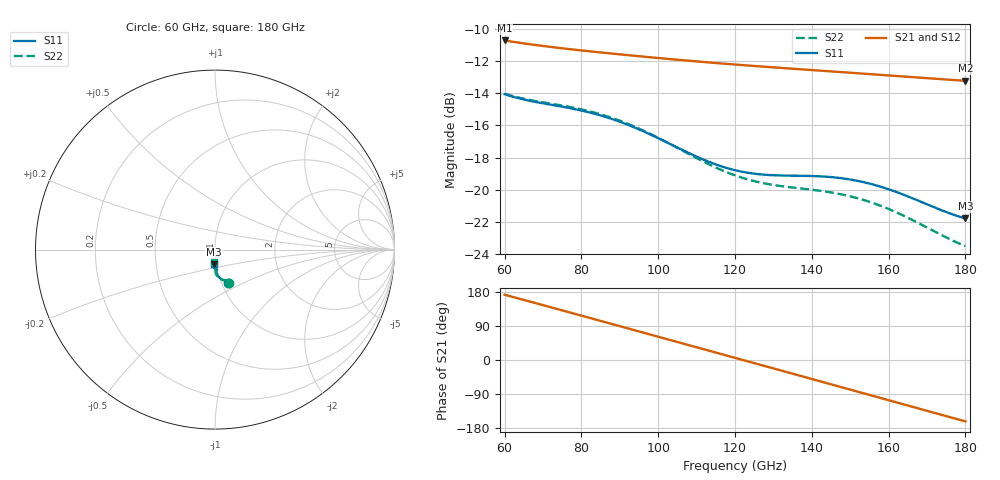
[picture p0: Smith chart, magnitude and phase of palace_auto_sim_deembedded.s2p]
! Created with skrf 1.11.0 (http://scikit-rf.org).
# GHz S DB R 50.0
!freq dBS11 angS11 dBS21 angS21 dBS12 angS12 dBS22 angS22
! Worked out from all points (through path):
!   101 points, 60 GHz to 180 GHz, reference 50 ohm
!   highest |S21| = -10.72 dB at 60 GHz (marker M1); lowest = -13.2 dB at 180 GHz (marker M2)
!   group delay of S21, straight-line fit = 7.75 ps
!   lowest |S11| = -21.8 dB at 180 GHz (marker M3), VSWR 1.18, Z = 48.8 - j7.99 ohm
!   |S11| at or under -10 dB: start of sweep to end of sweep
!   |S22| runs from -23.5 to -14.0 dB; largest |S21 - S12| = 1.4e-16
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60  -14.06 -68.3  -10.72 172.3  -10.72 172.3  -14.03 -67.6
64.8  -14.37 -68.7  -10.90 159.1  -10.90 159.1  -14.33 -68.1
69.6  -14.61 -69.7  -11.05 145.9  -11.05 145.9  -14.55 -69.3
75.6  -14.86 -71.9  -11.22 129.3  -11.22 129.3  -14.79 -71.7
80.4  -15.09 -74.2  -11.35 116.0  -11.35 116.0  -15.02 -74.3
85.2  -15.39 -76.9  -11.47 102.6  -11.47 102.6  -15.32 -77.2
90  -15.77 -79.6  -11.58 89.3  -11.58 89.3  -15.70 -80.2
94.8  -16.22 -82.1  -11.69 75.9  -11.69 75.9  -16.17 -83.1
100.8  -16.88 -84.5  -11.83 59.2  -11.83 59.2  -16.86 -86.1
110.4  -17.97 -86.1  -12.03 32.4  -12.03 32.4  -18.07 -88.7
115.2  -18.43 -85.8  -12.12 19.1  -12.12 19.1  -18.63 -88.9
120  -18.78 -85.1  -12.22 5.7  -12.22 5.7  -19.09 -88.6
124.8  -18.99 -84.4  -12.30 -7.7  -12.30 -7.7  -19.44 -88.0
129.6  -19.08 -84.1  -12.38 -21.0  -12.38 -21.0  -19.68 -87.7
134.4  -19.11 -84.3  -12.47 -34.4  -12.47 -34.4  -19.83 -87.7
140.4  -19.14 -85.6  -12.57 -51.2  -12.57 -51.2  -20.00 -88.7
146.4  -19.24 -87.8  -12.67 -68.0  -12.67 -68.0  -20.21 -90.5
151.2  -19.40 -89.9  -12.75 -81.4  -12.75 -81.4  -20.47 -92.3
156  -19.67 -92.0  -12.83 -94.9  -12.83 -94.9  -20.82 -94.2
160.8  -20.03 -93.8  -12.91 -108.3  -12.91 -108.3  -21.27 -95.8
170.4  -20.93 -95.6  -13.07 -135.2  -13.07 -135.2  -22.38 -97.2
180  -21.77 -94.0  -13.23 -162.0  -13.23 -162.0  -23.49 -94.7
